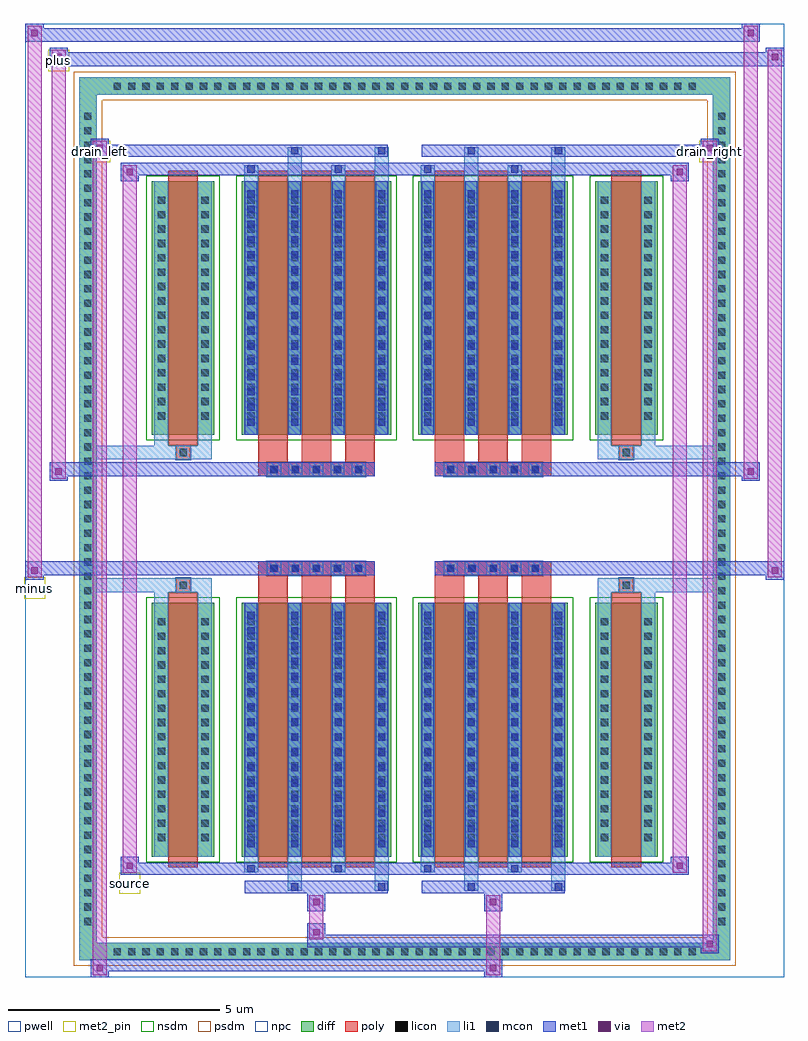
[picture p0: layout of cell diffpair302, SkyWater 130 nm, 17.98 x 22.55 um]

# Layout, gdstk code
import gdstk
lib = gdstk.Library(unit=1e-6, precision=5e-09)
def R(c, l, rs):  # rectangles x0, y0, x1, y1
    for r in rs: c.add(gdstk.rectangle(r[:2], r[2:], *l))
def A(c, l, x, y, w, h, nx, ny, dx, dy):  # array of equal rectangles
    R(c, l, [(x+i*dx, y+j*dy, x+i*dx+w, y+j*dy+h) for i in range(nx) for j in range(ny)])
def P(c, l, *ps):  # polygons
    for p in ps: c.add(gdstk.Polygon(p, *l))
pwell = (64, 44)
diff = (65, 20)
poly = (66, 20)
licon = (66, 44)
li1 = (67, 20)
mcon = (67, 44)
met1 = (68, 20)
via = (68, 44)
met2_pin = (69, 16)
met2 = (69, 20)
nsdm = (93, 44)
psdm = (94, 20)
npc = (95, 20)

diffpair302 = lib.new_cell('diffpair302')
R(diffpair302, pwell, [(-8.97,-10.84,8.97,11.71), (-6.29,-9.03,-0.01,-0.805), (0.01,-9.03,6.29,-0.805), (-6.29,0.805,-0.01,9.03), (0.01,0.805,6.29,9.03)])
A(diffpair302, diff, -7.005, -10.44, 0.41, 0.41, 41, 2, 0.34, 20.47)
A(diffpair302, diff, -7.7, -9.725, 0.41, 0.41, 1, 57, 0, 0.34)
A(diffpair302, diff, 7.29, -9.725, 0.41, 0.41, 1, 57, 0, 0.34)
R(diffpair302, diff, [(-7.005,-10.44,7.005,-10.03), (-7.7,-9.725,-7.29,9.725), (7.29,-9.725,7.7,9.725), (-5.98,-7.985,-4.5,-1.985), (-3.86,-7.985,-0.32,-1.985), (0.32,-7.985,3.86,-1.985), (4.5,-7.985,5.98,-1.985), (-5.98,1.985,-4.5,7.985), (-3.86,1.985,-0.32,7.985), (0.32,1.985,3.86,7.985), (4.5,1.985,5.98,7.985), (-7.005,10.03,7.005,10.44)])
P(diffpair302, diff, [(7.7,10.44),(-7.7,10.44),(-7.7,-10.03),(-7.29,-10.03),(-7.29,10.03),(7.29,10.03),(7.29,-10.03),(-7.29,-10.03),(-7.7,-10.03),(-7.7,-10.44),(7.7,-10.44)])
A(diffpair302, poly, -3.47, -8.235, 0.7, 6.5, 3, 2, 1.03, 9.97)
A(diffpair302, poly, 0.71, -8.235, 0.7, 6.5, 3, 2, 1.03, 9.97)
A(diffpair302, poly, -3.47, -1.735, 0.7, 0.4, 3, 2, 1.03, 3.07)
A(diffpair302, poly, 0.71, -1.735, 0.7, 0.4, 3, 2, 1.03, 3.07)
A(diffpair302, poly, -3.255, -1.335, 0.33, 0.33, 5, 2, 0.5, 2.34)
A(diffpair302, poly, 0.925, -1.335, 0.33, 0.33, 5, 2, 0.5, 2.34)
R(diffpair302, poly, [(-5.59,-8.235,-4.89,-1.735), (4.89,-8.235,5.59,-1.735), (-5.405,-1.735,-5.075,-1.405), (-5.405,-1.735,-5.075,-1.405), (5.075,-1.735,5.405,-1.405), (5.075,-1.735,5.405,-1.405), (-3.47,-1.335,-0.71,-1.005), (0.71,-1.335,3.47,-1.005), (-3.47,1.005,-0.71,1.335), (0.71,1.005,3.47,1.335), (-5.405,1.405,-5.075,1.735), (-5.405,1.405,-5.075,1.735), (5.075,1.405,5.405,1.735), (5.075,1.405,5.405,1.735), (-5.59,1.735,-4.89,8.235), (4.89,1.735,5.59,8.235)])
A(diffpair302, licon, -6.885, -10.32, 0.17, 0.17, 41, 2, 0.34, 20.47)
A(diffpair302, licon, -7.58, -9.605, 0.17, 0.17, 1, 57, 0, 0.34)
A(diffpair302, licon, 7.41, -9.605, 0.17, 0.17, 1, 57, 0, 0.34)
A(diffpair302, licon, -5.84, -7.62, 0.17, 0.17, 1, 16, 0, 0.34)
A(diffpair302, licon, -4.81, -7.62, 0.17, 0.17, 1, 16, 0, 0.34)
A(diffpair302, licon, -3.72, -7.62, 0.17, 0.17, 4, 16, 1.03, 0.34)
A(diffpair302, licon, 0.46, -7.62, 0.17, 0.17, 4, 16, 1.03, 0.34)
A(diffpair302, licon, 4.64, -7.62, 0.17, 0.17, 1, 16, 0, 0.34)
A(diffpair302, licon, 5.67, -7.62, 0.17, 0.17, 1, 16, 0, 0.34)
A(diffpair302, licon, -3.175, -1.255, 0.17, 0.17, 5, 2, 0.5, 2.34)
A(diffpair302, licon, 1.005, -1.255, 0.17, 0.17, 5, 2, 0.5, 2.34)
A(diffpair302, licon, -5.84, 2.35, 0.17, 0.17, 1, 16, 0, 0.34)
A(diffpair302, licon, -4.81, 2.35, 0.17, 0.17, 1, 16, 0, 0.34)
A(diffpair302, licon, -3.72, 2.35, 0.17, 0.17, 4, 16, 1.03, 0.34)
A(diffpair302, licon, 0.46, 2.35, 0.17, 0.17, 4, 16, 1.03, 0.34)
A(diffpair302, licon, 4.64, 2.35, 0.17, 0.17, 1, 16, 0, 0.34)
A(diffpair302, licon, 5.67, 2.35, 0.17, 0.17, 1, 16, 0, 0.34)
R(diffpair302, licon, [(-5.325,-1.655,-5.155,-1.485), (5.155,-1.655,5.325,-1.485), (-5.325,1.485,-5.155,1.655), (5.155,1.485,5.325,1.655)])
A(diffpair302, li1, -6.965, -10.4, 0.33, 0.33, 41, 2, 0.34, 20.47)
A(diffpair302, li1, -7.66, -9.685, 0.33, 0.33, 1, 57, 0, 0.34)
A(diffpair302, li1, 7.33, -9.685, 0.33, 0.33, 1, 57, 0, 0.34)
A(diffpair302, li1, -3.8, -7.985, 0.33, 6, 4, 2, 1.03, 9.97)
A(diffpair302, li1, 0.38, -7.985, 0.33, 6, 4, 2, 1.03, 9.97)
A(diffpair302, li1, -3.72, -7.77, 0.17, 0.17, 4, 16, 1.03, 0.36)
A(diffpair302, li1, -3.72, -7.77, 0.17, 5.57, 4, 2, 1.03, 9.97)
A(diffpair302, li1, 0.46, -7.77, 0.17, 0.17, 4, 16, 1.03, 0.36)
A(diffpair302, li1, 0.46, -7.77, 0.17, 5.57, 4, 2, 1.03, 9.97)
A(diffpair302, li1, -5.92, -7.7, 0.33, 0.33, 1, 16, 0, 0.34)
A(diffpair302, li1, -4.89, -7.7, 0.33, 0.33, 1, 16, 0, 0.34)
A(diffpair302, li1, -3.8, -7.7, 0.33, 0.33, 4, 16, 1.03, 0.34)
A(diffpair302, li1, 0.38, -7.7, 0.33, 0.33, 4, 16, 1.03, 0.34)
A(diffpair302, li1, 4.56, -7.7, 0.33, 0.33, 1, 16, 0, 0.34)
A(diffpair302, li1, 5.59, -7.7, 0.33, 0.33, 1, 16, 0, 0.34)
A(diffpair302, li1, -3.255, -1.335, 0.33, 0.33, 5, 2, 0.5, 2.34)
A(diffpair302, li1, 0.925, -1.335, 0.33, 0.33, 5, 2, 0.5, 2.34)
A(diffpair302, li1, -3.72, 2.2, 0.17, 0.17, 4, 16, 1.03, 0.36)
A(diffpair302, li1, 0.46, 2.2, 0.17, 0.17, 4, 16, 1.03, 0.36)
A(diffpair302, li1, -5.92, 2.27, 0.33, 0.33, 1, 16, 0, 0.34)
A(diffpair302, li1, -4.89, 2.27, 0.33, 0.33, 1, 16, 0, 0.34)
A(diffpair302, li1, -3.8, 2.27, 0.33, 0.33, 4, 16, 1.03, 0.34)
A(diffpair302, li1, 0.38, 2.27, 0.33, 0.33, 4, 16, 1.03, 0.34)
A(diffpair302, li1, 4.56, 2.27, 0.33, 0.33, 1, 16, 0, 0.34)
A(diffpair302, li1, 5.59, 2.27, 0.33, 0.33, 1, 16, 0, 0.34)
R(diffpair302, li1, [(-7.7,-10.44,-7.29,-10.03), (-7.7,-10.44,-7.29,-10.03), (-7.29,-10.44,7.29,-10.03), (7.29,-10.44,7.7,-10.03), (7.29,-10.44,7.7,-10.03), (-7.7,-10.03,-7.29,10.03), (7.29,-10.03,7.7,10.03), (-2.77,-8.79,-2.44,-7.985), (-2.69,-8.79,-2.52,-8.62), (-0.71,-8.79,-0.38,-7.985), (-0.63,-8.79,-0.46,-8.62), (1.41,-8.79,1.74,-7.985), (1.49,-8.79,1.66,-8.62), (3.47,-8.79,3.8,-7.985), (3.55,-8.79,3.72,-8.62), (-3.8,-8.36,-3.47,-7.985), (-3.72,-8.36,-3.55,-8.19), (-1.74,-8.36,-1.41,-7.985), (-1.66,-8.36,-1.49,-8.19), (0.38,-8.36,0.71,-7.985), (0.46,-8.36,0.63,-8.19), (2.44,-8.36,2.77,-7.985), (2.52,-8.36,2.69,-8.19), (-5.92,-7.985,-5.59,-1.985), (-4.89,-7.985,-4.56,-1.985), (4.56,-7.985,4.89,-1.985), (5.59,-7.985,5.92,-1.985), (-5.92,-1.985,-5.59,-1.405), (-4.89,-1.985,-4.56,-1.405), (4.56,-1.985,4.89,-1.405), (5.59,-1.985,5.92,-1.405), (-7.7,-1.735,-5.405,-1.405), (-5.92,-1.735,-5.405,-1.405), (-5.405,-1.735,-5.075,-1.405), (-5.075,-1.735,-4.56,-1.405), (4.56,-1.735,5.075,-1.405), (5.075,-1.735,5.405,-1.405), (5.075,-1.735,7.7,-1.405), (5.405,-1.735,5.92,-1.405), (-7.7,1.405,-5.405,1.735), (-5.92,1.405,-5.405,1.735), (-5.92,1.405,-5.59,1.985), (-5.405,1.405,-5.075,1.735), (-5.075,1.405,-4.56,1.735), (-4.89,1.405,-4.56,1.985), (4.56,1.405,5.075,1.735), (4.56,1.405,4.89,1.985), (5.075,1.405,5.405,1.735), (5.075,1.405,7.7,1.735), (5.405,1.405,5.92,1.735), (5.59,1.405,5.92,1.985), (-5.92,1.985,-5.59,7.985), (-4.89,1.985,-4.56,7.985), (4.56,1.985,4.89,7.985), (5.59,1.985,5.92,7.985), (-3.8,7.985,-3.47,8.36), (-2.77,7.985,-2.44,8.79), (-1.74,7.985,-1.41,8.36), (-0.71,7.985,-0.38,8.79), (0.38,7.985,0.71,8.36), (1.41,7.985,1.74,8.79), (2.44,7.985,2.77,8.36), (3.47,7.985,3.8,8.79), (-3.72,8.19,-3.55,8.36), (-1.66,8.19,-1.49,8.36), (0.46,8.19,0.63,8.36), (2.52,8.19,2.69,8.36), (-2.69,8.62,-2.52,8.79), (-0.63,8.62,-0.46,8.79), (1.49,8.62,1.66,8.79), (3.55,8.62,3.72,8.79), (-7.7,10.03,-7.29,10.44), (-7.7,10.03,-7.29,10.44), (-7.29,10.03,7.29,10.44), (7.29,10.03,7.7,10.44), (7.29,10.03,7.7,10.44)])
A(diffpair302, mcon, -3.72, -7.77, 0.17, 0.17, 4, 16, 1.03, 0.36)
A(diffpair302, mcon, 0.46, -7.77, 0.17, 0.17, 4, 16, 1.03, 0.36)
A(diffpair302, mcon, -3.175, -1.255, 0.17, 0.17, 5, 2, 0.5, 2.34)
A(diffpair302, mcon, 1.005, -1.255, 0.17, 0.17, 5, 2, 0.5, 2.34)
A(diffpair302, mcon, -3.72, 2.2, 0.17, 0.17, 4, 16, 1.03, 0.36)
A(diffpair302, mcon, 0.46, 2.2, 0.17, 0.17, 4, 16, 1.03, 0.36)
R(diffpair302, mcon, [(-2.69,-8.79,-2.52,-8.62), (-0.63,-8.79,-0.46,-8.62), (1.49,-8.79,1.66,-8.62), (3.55,-8.79,3.72,-8.62), (-3.72,-8.36,-3.55,-8.19), (-1.66,-8.36,-1.49,-8.19), (0.46,-8.36,0.63,-8.19), (2.52,-8.36,2.69,-8.19), (-3.72,8.19,-3.55,8.36), (-1.66,8.19,-1.49,8.36), (0.46,8.19,0.63,8.36), (2.52,8.19,2.69,8.36), (-2.69,8.62,-2.52,8.79), (-0.63,8.62,-0.46,8.79), (1.49,8.62,1.66,8.79), (3.55,8.62,3.72,8.79)])
A(diffpair302, met1, -3.78, -7.985, 0.29, 6, 4, 2, 1.03, 9.97)
A(diffpair302, met1, 0.4, -7.985, 0.29, 6, 4, 2, 1.03, 9.97)
A(diffpair302, met1, -3.78, -7.83, 0.29, 0.29, 4, 16, 1.03, 0.36)
A(diffpair302, met1, 0.4, -7.83, 0.29, 0.29, 4, 16, 1.03, 0.36)
A(diffpair302, met1, -3.235, -1.315, 0.29, 0.29, 5, 2, 0.5, 2.34)
A(diffpair302, met1, 0.945, -1.315, 0.29, 0.29, 5, 2, 0.5, 2.34)
A(diffpair302, met1, -3.78, 2.14, 0.29, 0.29, 4, 16, 1.03, 0.36)
A(diffpair302, met1, 0.4, 2.14, 0.29, 0.29, 4, 16, 1.03, 0.36)
R(diffpair302, met1, [(-7.43,-10.84,-7,-10.41), (1.875,-10.84,2.305,-10.41), (-7.43,-10.7,2.305,-10.41), (7,-10.27,7.43,-9.84), (-2.305,-10.13,7.43,-9.84), (-2.305,-9.99,-1.875,-9.56), (-2.305,-9.28,-1.875,-8.85), (1.875,-9.28,2.305,-8.85), (-3.78,-8.85,-0.4,-8.56), (-2.75,-8.85,-2.46,-8.56), (-0.69,-8.85,-0.4,-8.56), (0.4,-8.85,3.78,-8.56), (1.43,-8.85,1.72,-8.56), (3.49,-8.85,3.78,-8.56), (-6.72,-8.42,-6.29,-7.99), (-6.72,-8.42,-3.78,-8.13), (-3.78,-8.42,-3.49,-8.13), (-3.78,-8.42,-0.4,-8.13), (-1.72,-8.42,-1.43,-8.13), (-0.4,-8.42,0.4,-8.13), (0.4,-8.42,0.69,-8.13), (0.4,-8.42,3.78,-8.13), (2.46,-8.42,2.75,-8.13), (3.78,-8.42,6.72,-8.13), (6.29,-8.42,6.72,-7.99), (-8.97,-1.435,-8.54,-1.005), (8.54,-1.435,8.97,-1.005), (-8.97,-1.335,-0.71,-1.005), (-3.47,-1.335,-0.71,-1.005), (0.71,-1.335,3.47,-1.005), (0.71,-1.335,8.97,-1.005), (-8.4,0.905,-7.97,1.335), (7.97,0.905,8.4,1.335), (-8.4,1.005,-3.47,1.335), (-3.47,1.005,-0.71,1.335), (0.71,1.005,3.47,1.335), (3.47,1.005,8.4,1.335), (-6.72,7.99,-6.29,8.42), (6.29,7.99,6.72,8.42), (-6.72,8.13,-3.78,8.42), (-3.78,8.13,-3.49,8.42), (-3.78,8.13,-0.4,8.42), (-1.72,8.13,-1.43,8.42), (-0.4,8.13,0.4,8.42), (0.4,8.13,0.69,8.42), (0.4,8.13,3.78,8.42), (2.46,8.13,2.75,8.42), (3.78,8.13,6.72,8.42), (-7.43,8.56,-7,8.99), (-7.43,8.56,-3.78,8.85), (-3.78,8.56,-0.4,8.85), (-2.75,8.56,-2.46,8.85), (-0.69,8.56,-0.4,8.85), (0.4,8.56,3.78,8.85), (1.43,8.56,1.72,8.85), (3.49,8.56,3.78,8.85), (3.78,8.56,7.43,8.85), (7,8.56,7.43,8.99), (-8.4,10.71,-7.97,11.14), (-8.4,10.71,-6.29,11.04), (-6.29,10.71,6.29,11.04), (6.29,10.71,8.97,11.04), (8.54,10.71,8.97,11.14), (-8.97,11.28,-8.54,11.71), (-8.97,11.28,-6.29,11.61), (-6.29,11.28,6.29,11.61), (6.29,11.28,8.4,11.61), (7.97,11.28,8.4,11.71)])
R(diffpair302, via, [(-7.29,-10.7,-7.14,-10.55), (2.015,-10.7,2.165,-10.55), (7.14,-10.13,7.29,-9.98), (-2.165,-9.85,-2.015,-9.7), (-2.165,-9.14,-2.015,-8.99), (2.015,-9.14,2.165,-8.99), (-6.58,-8.28,-6.43,-8.13), (6.43,-8.28,6.58,-8.13), (-8.83,-1.295,-8.68,-1.145), (8.68,-1.295,8.83,-1.145), (-8.26,1.045,-8.11,1.195), (8.11,1.045,8.26,1.195), (-6.58,8.13,-6.43,8.28), (6.43,8.13,6.58,8.28), (-7.29,8.7,-7.14,8.85), (7.14,8.7,7.29,8.85), (-8.26,10.85,-8.11,11), (8.68,10.85,8.83,11), (-8.83,11.42,-8.68,11.57), (8.11,11.42,8.26,11.57)])
R(diffpair302, met2_pin, [(-6.755,-8.87,-6.255,-8.37), (-9.005,-1.885,-8.505,-1.385), (-7.465,8.44,-6.965,8.94), (6.965,8.44,7.465,8.94), (-8.435,10.59,-7.935,11.09)])
R(diffpair302, met2, [(-7.38,-10.79,-7.05,-10.46), (-7.38,-10.79,-7.05,8.94), (1.925,-10.79,2.255,-10.46), (1.925,-10.46,2.255,-9.23), (7.05,-10.22,7.38,-9.89), (7.05,-10.22,7.38,8.94), (-2.255,-9.94,-1.925,-9.61), (-2.255,-9.61,-1.925,-9.23), (-2.255,-9.23,-1.925,-8.9), (1.925,-9.23,2.255,-8.9), (-6.67,-8.37,-6.34,-8.04), (-6.67,-8.37,-6.34,8.37), (6.34,-8.37,6.67,-8.04), (6.34,-8.37,6.67,8.37), (-8.92,-1.385,-8.59,-1.055), (-8.92,-1.385,-8.59,11.66), (8.59,-1.385,8.92,-1.055), (8.59,-1.385,8.92,11.09), (-8.35,0.955,-8.02,1.285), (-8.35,0.955,-8.02,11.09), (8.02,0.955,8.35,1.285), (8.02,0.955,8.35,11.66), (-6.67,8.04,-6.34,8.37), (6.34,8.04,6.67,8.37), (-7.38,8.61,-7.05,8.94), (7.05,8.61,7.38,8.94), (-8.35,10.76,-8.02,11.09), (8.59,10.76,8.92,11.09), (-8.92,11.33,-8.59,11.66), (8.02,11.33,8.35,11.66)])
P(diffpair302, met2, [(8.92,-1.385),(8.92,-1.385),(8.92,-1.055),(8.92,-1.055)],
  [(8.92,10.76),(8.92,10.76),(8.92,11.09),(8.92,11.09)],
  [(-8.59,-1.385),(-8.59,-1.385),(-8.59,-1.055),(-8.59,-1.055)],
  [(-8.59,11.33),(-8.59,11.33),(-8.59,11.66),(-8.59,11.66)],
  [(8.35,0.955),(8.35,0.955),(8.35,1.285),(8.35,1.285)],
  [(8.35,11.33),(8.35,11.33),(8.35,11.66),(8.35,11.66)],
  [(-8.02,0.955),(-8.02,0.955),(-8.02,1.285),(-8.02,1.285)],
  [(-8.02,10.76),(-8.02,10.76),(-8.02,11.09),(-8.02,11.09)],
  [(-7.05,-10.79),(-7.05,-10.79),(-7.05,-10.46),(-7.05,-10.46)],
  [(-7.05,8.61),(-7.05,8.61),(-7.05,8.94),(-7.05,8.94)],
  [(7.38,-10.22),(7.38,-10.22),(7.38,-9.89),(7.38,-9.89)],
  [(7.38,8.61),(7.38,8.61),(7.38,8.94),(7.38,8.94)],
  [(-6.34,-8.37),(-6.34,-8.37),(-6.34,-8.04),(-6.34,-8.04)],
  [(-6.34,8.04),(-6.34,8.04),(-6.34,8.37),(-6.34,8.37)],
  [(6.67,-8.37),(6.67,-8.37),(6.67,-8.04),(6.67,-8.04)],
  [(6.67,8.04),(6.67,8.04),(6.67,8.37),(6.67,8.37)])
R(diffpair302, nsdm, [(-6.11,-8.115,-4.37,-1.855), (-3.99,-8.115,-0.19,-1.855), (0.19,-8.115,3.99,-1.855), (4.37,-8.115,6.11,-1.855), (-6.11,1.855,-4.37,8.115), (-3.99,1.855,-0.19,8.115), (0.19,1.855,3.99,8.115), (4.37,1.855,6.11,8.115)])
P(diffpair302, psdm, [(7.83,10.57),(-7.83,10.57),(-7.83,-9.9),(-7.16,-9.9),(-7.16,9.9),(7.16,9.9),(7.16,-9.9),(-7.16,-9.9),(-7.83,-9.9),(-7.83,-10.57),(7.83,-10.57)])
A(diffpair302, npc, -3.275, -1.355, 0.37, 0.37, 5, 2, 0.5, 2.34)
A(diffpair302, npc, 0.905, -1.355, 0.37, 0.37, 5, 2, 0.5, 2.34)
R(diffpair302, npc, [(-5.425,-1.755,-5.055,-1.385), (5.055,-1.755,5.425,-1.385), (-3.275,-1.355,-2.405,-0.985), (-3.275,-1.355,-2.405,-0.985), (-2.775,-1.355,-1.905,-0.985), (-2.775,-1.355,-1.905,-0.985), (-2.275,-1.355,-1.405,-0.985), (-2.275,-1.355,-1.405,-0.985), (-1.775,-1.355,-0.905,-0.985), (-1.775,-1.355,-0.905,-0.985), (0.905,-1.355,1.775,-0.985), (0.905,-1.355,1.775,-0.985), (1.405,-1.355,2.275,-0.985), (1.405,-1.355,2.275,-0.985), (1.905,-1.355,2.775,-0.985), (1.905,-1.355,2.775,-0.985), (2.405,-1.355,3.275,-0.985), (2.405,-1.355,3.275,-0.985), (-3.275,0.985,-2.405,1.355), (-3.275,0.985,-2.405,1.355), (-2.775,0.985,-1.905,1.355), (-2.775,0.985,-1.905,1.355), (-2.275,0.985,-1.405,1.355), (-2.275,0.985,-1.405,1.355), (-1.775,0.985,-0.905,1.355), (-1.775,0.985,-0.905,1.355), (0.905,0.985,1.775,1.355), (0.905,0.985,1.775,1.355), (1.405,0.985,2.275,1.355), (1.405,0.985,2.275,1.355), (1.905,0.985,2.775,1.355), (1.905,0.985,2.775,1.355), (2.405,0.985,3.275,1.355), (2.405,0.985,3.275,1.355), (-5.425,1.385,-5.055,1.755), (5.055,1.385,5.425,1.755)])
diffpair302.add(gdstk.Label('minus', (-8.755,-1.635), layer=69, texttype=5))
diffpair302.add(gdstk.Label('drain_right', (7.215,8.69), layer=69, texttype=5))
diffpair302.add(gdstk.Label('drain_left', (-7.215,8.69), layer=69, texttype=5))
diffpair302.add(gdstk.Label('source', (-6.505,-8.62), layer=69, texttype=5))
diffpair302.add(gdstk.Label('plus', (-8.185,10.84), layer=69, texttype=5))

lib.write_gds('diffpair302.gds')
